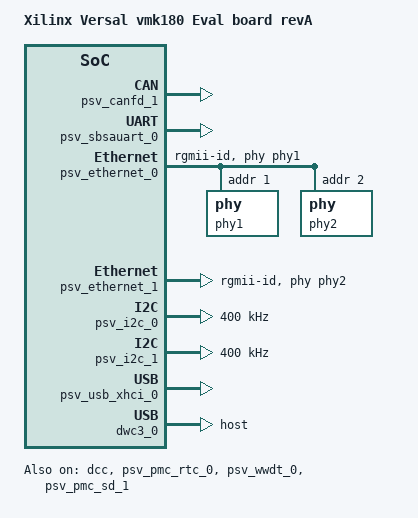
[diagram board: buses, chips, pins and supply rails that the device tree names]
// SPDX-License-Identifier: GPL-2.0
/*
 * dts file for Xilinx Versal VMK180 revA
 *
 * (C) Copyright 2019, Xilinx, Inc.
 *
 * Michal Simek <michal.simek@xilinx.com>
 */

/ {
	compatible = "xlnx,versal-vmk180-revA", "xlnx,versal";
	model = "Xilinx Versal vmk180 Eval board revA";

	chosen {
		bootargs = "console=ttyAMA0 earlycon=pl011,mmio32,0xFF000000,115200n8 clk_ignore_unused";
		stdout-path = "serial0:115200";
	};

	aliases {
		serial0 = &psv_sbsauart_0;
		ethernet0 = &psv_ethernet_0;
		ethernet1 = &psv_ethernet_1;
		i2c0 = &psv_i2c_0;
		i2c1 = &psv_i2c_1;
		mmc0 = &psv_pmc_sd_1;
		spi0 = &psv_pmc_qspi_0;
		usb0 = &psv_usb_xhci_0;
		rtc0 = &psv_pmc_rtc_0;
	};
};

/* PMC_MIO 0 -12 - configuration header QSPI/OSPI/EMMC */
/* FIXME PMC_MIO37 ZU4_TRIGGER/PMC_MIO37/38 PCIE */

&psv_canfd_1 { /* MIO40-41 */
	status = "okay";
};

&dcc {
	status = "okay";
};

&psv_pmc_rtc_0 {
	status = "okay";
};

&psv_gpio_0 {
	status = "okay";
};

&psv_gpio_1 {
	status = "okay";
};

&psv_wwdt_0 {
	status = "okay";
};

&psv_pmc_sd_1 { /* PMC_MIO26-36/51 */
	status = "okay";
	xlnx,mio_bank = <1>;
	no-1-8-v;
};

&psv_sbsauart_0 { /* PMC_MIO42/43 */
	status = "okay";
};

&psv_ethernet_0 { /* PMC_MIO_48, LPD_MIO0-11/24/25 */
	status = "okay";
	phy-handle = <&phy1>; /* u128 */
	phy-mode = "rgmii-id";
	phy1: phy@1 {
		reg = <1>;
		ti,rx-internal-delay = <0xb>;
		ti,tx-internal-delay = <0xa>;
		ti,fifo-depth = <1>;
		ti,dp83867-rxctrl-strap-quirk;
	};
	phy2: phy@2 {
		reg = <2>;
		ti,rx-internal-delay = <0xb>;
		ti,tx-internal-delay = <0xa>;
		ti,fifo-depth = <1>;
		ti,dp83867-rxctrl-strap-quirk;
	};
};

&psv_ethernet_1 { /* PMC_MIO_49, LPD_MIO12-23 */
	status = "okay";
	phy-handle = <&phy2>; /* u134 */
	phy-mode = "rgmii-id";
};

&psv_i2c_0 { /* PMC_MIO46/47 */
	status = "okay";
	clock-frequency = <400000>;
};

&psv_i2c_1 { /* PMC_MIO44/45 */
	status = "okay";
	clock-frequency = <400000>;
};

&psv_usb_xhci_0 { /* PMC_MIO13_500 - PMC_MIO25 USB 2.0 */
	status = "okay";
	xlnx,usb-polarity = <0x0>;
	xlnx,usb-reset-mode = <0x0>;
};

&dwc3_0 { /* USB 2.0 host */
	status = "okay";
	dr_mode = "host";
	maximum-speed = "high-speed";
	snps,dis_u2_susphy_quirk;
	snps,dis_u3_susphy_quirk;
	snps,usb3_lpm_capable;
};
